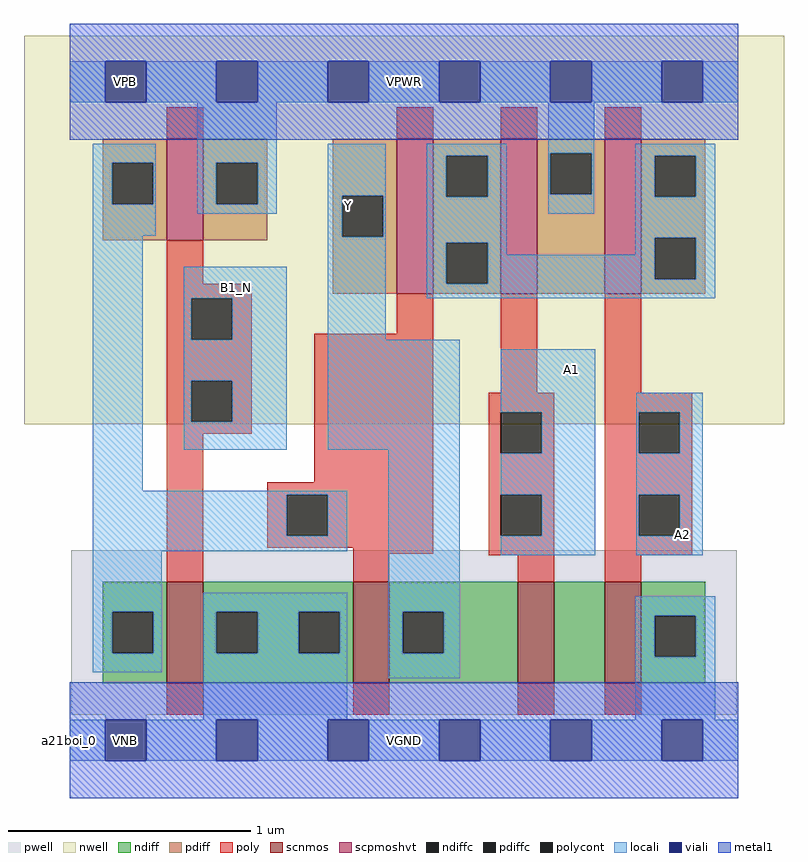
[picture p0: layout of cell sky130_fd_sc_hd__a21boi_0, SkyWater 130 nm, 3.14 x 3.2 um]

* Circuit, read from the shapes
.subckt sky130_fd_sc_hd__a21boi_0 A1 A2 B1_N VGND VNB VPB VPWR Y
XM1 VGND B1_N n1 VNB sky130_fd_pr__nfet_01v8 w=0.42 l=0.15
XM2 Y n1 VGND VNB sky130_fd_pr__nfet_01v8 w=0.42 l=0.15
XM3 n2 A1 Y VNB sky130_fd_pr__nfet_01v8 w=0.42 l=0.15
XM4 VGND A2 n2 VNB sky130_fd_pr__nfet_01v8 w=0.42 l=0.15
XM5 VPWR B1_N n1 VPB sky130_fd_pr__pfet_01v8_hvt w=0.42 l=0.15
XM6 n3 n1 Y VPB sky130_fd_pr__pfet_01v8_hvt w=0.64 l=0.15
XM7 VPWR A1 n3 VPB sky130_fd_pr__pfet_01v8_hvt w=0.64 l=0.15
XM8 n3 A2 VPWR VPB sky130_fd_pr__pfet_01v8_hvt w=0.64 l=0.15
.ends

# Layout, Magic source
magic
tech sky130B
magscale 1 2
<< nwell >>
rect -38 261 590 582
<< pwell >>
rect 1 21 551 157
rect 29 -17 63 21
<< scnmos >>
rect 80 47 110 131
rect 234 47 264 131
rect 370 47 400 131
rect 442 47 472 131
<< scpmoshvt >>
rect 80 413 110 497
rect 270 369 300 497
rect 356 369 386 497
rect 442 369 472 497
<< ndiff >>
rect 27 106 80 131
rect 27 72 35 106
rect 69 72 80 106
rect 27 47 80 72
rect 110 106 234 131
rect 110 72 121 106
rect 155 72 189 106
rect 223 72 234 106
rect 110 47 234 72
rect 264 106 370 131
rect 264 72 275 106
rect 309 72 370 106
rect 264 47 370 72
rect 400 47 442 131
rect 472 103 525 131
rect 472 69 483 103
rect 517 69 525 103
rect 472 47 525 69
<< pdiff >>
rect 27 477 80 497
rect 27 443 35 477
rect 69 443 80 477
rect 27 413 80 443
rect 110 477 163 497
rect 110 443 121 477
rect 155 443 163 477
rect 110 413 163 443
rect 217 450 270 497
rect 217 416 225 450
rect 259 416 270 450
rect 217 369 270 416
rect 300 483 356 497
rect 300 449 311 483
rect 345 449 356 483
rect 300 411 356 449
rect 300 377 311 411
rect 345 377 356 411
rect 300 369 356 377
rect 386 485 442 497
rect 386 451 397 485
rect 431 451 442 485
rect 386 369 442 451
rect 472 483 525 497
rect 472 449 483 483
rect 517 449 525 483
rect 472 415 525 449
rect 472 381 483 415
rect 517 381 525 415
rect 472 369 525 381
<< ndiffc >>
rect 35 72 69 106
rect 121 72 155 106
rect 189 72 223 106
rect 275 72 309 106
rect 483 69 517 103
<< pdiffc >>
rect 35 443 69 477
rect 121 443 155 477
rect 225 416 259 450
rect 311 449 345 483
rect 311 377 345 411
rect 397 451 431 485
rect 483 449 517 483
rect 483 381 517 415
<< poly >>
rect 80 497 110 523
rect 270 497 300 523
rect 356 497 386 523
rect 442 497 472 523
rect 80 377 110 413
rect 80 365 150 377
rect 80 331 100 365
rect 134 331 150 365
rect 270 336 300 369
rect 80 297 150 331
rect 80 263 100 297
rect 134 263 150 297
rect 80 253 150 263
rect 80 131 110 253
rect 202 213 300 336
rect 356 287 386 369
rect 442 287 472 369
rect 163 203 300 213
rect 163 169 179 203
rect 213 169 300 203
rect 163 159 300 169
rect 234 154 300 159
rect 346 271 400 287
rect 346 237 356 271
rect 390 237 400 271
rect 346 203 400 237
rect 346 169 356 203
rect 390 169 400 203
rect 234 131 264 154
rect 346 153 400 169
rect 370 131 400 153
rect 442 271 514 287
rect 442 237 470 271
rect 504 237 514 271
rect 442 203 514 237
rect 442 169 470 203
rect 504 169 514 203
rect 442 153 514 169
rect 442 131 472 153
rect 80 21 110 47
rect 234 21 264 47
rect 370 21 400 47
rect 442 21 472 47
<< polycont >>
rect 100 331 134 365
rect 100 263 134 297
rect 179 169 213 203
rect 356 237 390 271
rect 356 169 390 203
rect 470 237 504 271
rect 470 169 504 203
<< locali >>
rect 0 527 29 561
rect 63 527 121 561
rect 155 527 213 561
rect 247 527 305 561
rect 339 527 397 561
rect 431 527 489 561
rect 523 527 552 561
rect 19 477 71 493
rect 19 443 35 477
rect 69 443 71 477
rect 19 417 71 443
rect 105 477 171 527
rect 105 443 121 477
rect 155 443 171 477
rect 105 435 171 443
rect 213 450 261 493
rect 19 206 60 417
rect 213 416 225 450
rect 259 416 261 450
rect 94 365 179 391
rect 94 331 100 365
rect 134 331 179 365
rect 94 297 179 331
rect 94 263 100 297
rect 134 263 179 297
rect 94 240 179 263
rect 213 331 261 416
rect 295 483 361 493
rect 295 449 311 483
rect 345 449 361 483
rect 295 411 361 449
rect 395 485 433 527
rect 395 451 397 485
rect 431 451 433 485
rect 395 435 433 451
rect 467 483 533 493
rect 467 449 483 483
rect 517 449 533 483
rect 295 377 311 411
rect 345 401 361 411
rect 467 415 533 449
rect 467 401 483 415
rect 345 381 483 401
rect 517 381 533 415
rect 345 377 533 381
rect 295 365 533 377
rect 213 240 322 331
rect 19 203 229 206
rect 19 169 179 203
rect 213 169 229 203
rect 19 156 229 169
rect 19 106 76 156
rect 19 72 35 106
rect 69 72 76 106
rect 19 56 76 72
rect 110 106 229 122
rect 110 72 121 106
rect 155 72 189 106
rect 223 72 229 106
rect 110 17 229 72
rect 263 106 322 240
rect 356 271 434 323
rect 390 237 434 271
rect 356 203 434 237
rect 390 169 434 203
rect 356 153 434 169
rect 468 271 523 287
rect 468 237 470 271
rect 504 237 523 271
rect 468 203 523 237
rect 468 169 470 203
rect 504 169 523 203
rect 468 153 523 169
rect 263 72 275 106
rect 309 72 322 106
rect 263 51 322 72
rect 467 103 533 119
rect 467 69 483 103
rect 517 69 533 103
rect 467 17 533 69
rect 0 -17 29 17
rect 63 -17 121 17
rect 155 -17 213 17
rect 247 -17 305 17
rect 339 -17 397 17
rect 431 -17 489 17
rect 523 -17 552 17
<< viali >>
rect 29 527 63 561
rect 121 527 155 561
rect 213 527 247 561
rect 305 527 339 561
rect 397 527 431 561
rect 489 527 523 561
rect 29 -17 63 17
rect 121 -17 155 17
rect 213 -17 247 17
rect 305 -17 339 17
rect 397 -17 431 17
rect 489 -17 523 17
<< metal1 >>
rect 0 561 552 592
rect 0 527 29 561
rect 63 527 121 561
rect 155 527 213 561
rect 247 527 305 561
rect 339 527 397 561
rect 431 527 489 561
rect 523 527 552 561
rect 0 496 552 527
rect 0 17 552 48
rect 0 -17 29 17
rect 63 -17 121 17
rect 155 -17 213 17
rect 247 -17 305 17
rect 339 -17 397 17
rect 431 -17 489 17
rect 523 -17 552 17
rect 0 -48 552 -17
<< labels >>
flabel locali s 121 357 155 391 0 FreeSans 340 0 0 0 B1_N
port 3 nsew signal input
flabel locali s 213 425 247 459 0 FreeSans 340 0 0 0 Y
port 8 nsew signal output
flabel locali s 397 289 431 323 0 FreeSans 340 0 0 0 A1
port 1 nsew signal input
flabel locali s 489 153 523 187 0 FreeSans 340 0 0 0 A2
port 2 nsew signal input
flabel pwell s 29 -17 63 17 0 FreeSans 200 0 0 0 VNB
port 5 nsew ground bidirectional
flabel nwell s 29 527 63 561 0 FreeSans 200 0 0 0 VPB
port 6 nsew power bidirectional
flabel metal1 s 29 527 63 561 0 FreeSans 200 0 0 0 VPWR
port 7 nsew power bidirectional abutment
flabel metal1 s 29 -17 63 17 0 FreeSans 200 0 0 0 VGND
port 4 nsew ground bidirectional abutment
rlabel comment s 0 0 0 0 4 a21boi_0
rlabel metal1 s 0 -48 552 48 1 VGND
port 4 nsew ground bidirectional abutment
rlabel metal1 s 0 496 552 592 1 VPWR
port 7 nsew power bidirectional abutment
<< properties >>
string FIXED_BBOX 0 0 552 544
string GDS_END 3988036
string GDS_FILE $PDKPATH/libs.ref/sky130_fd_sc_hd/gds/sky130_fd_sc_hd.gds
string GDS_START 3982860
string LEFclass CORE
string LEFsite unithd
string LEFsymmetry X Y R90
string path 0.000 13.600 13.800 13.600 
<< end >>
